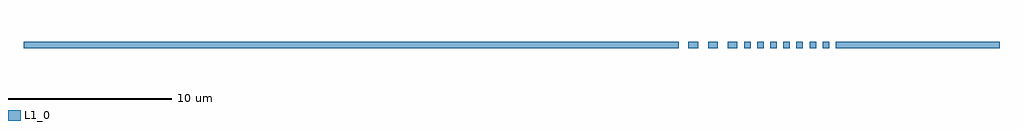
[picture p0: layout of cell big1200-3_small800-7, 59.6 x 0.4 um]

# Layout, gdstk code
import gdstk
lib = gdstk.Library(unit=1e-6, precision=1e-09)
def R(c, l, rs):  # rectangles x0, y0, x1, y1
    for r in rs: c.add(gdstk.rectangle(r[:2], r[2:], *l))
def A(c, l, x, y, w, h, nx, ny, dx, dy):  # array of equal rectangles
    R(c, l, [(x+i*dx, y+j*dy, x+i*dx+w, y+j*dy+h) for i in range(nx) for j in range(ny)])
L1_0 = (1, 0)

big1200_3_small800_7 = lib.new_cell('big1200-3_small800-7')
A(big1200_3_small800_7, L1_0, 0.6, 0, 0.6, 0.4, 3, 1, 1.2, 0)
A(big1200_3_small800_7, L1_0, 4, 0, 0.4, 0.4, 7, 1, 0.8, 0)
R(big1200_3_small800_7, L1_0, [(-40,0,0,0.4), (9.6,0,19.6,0.4)])

lib.write_gds('big1200-3_small800-7.gds')
